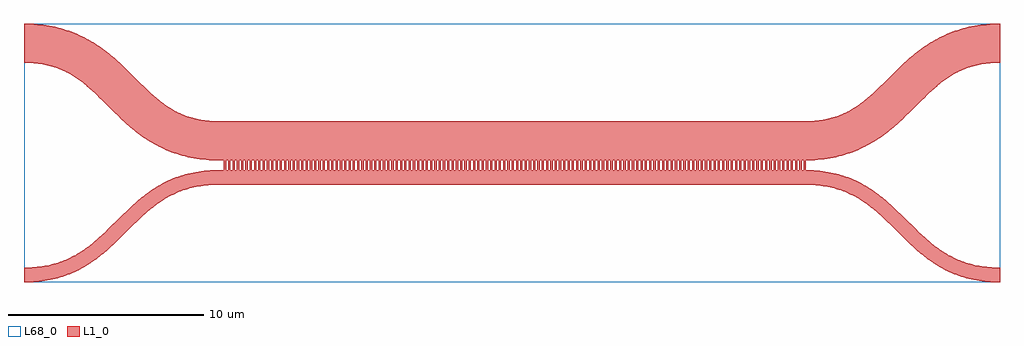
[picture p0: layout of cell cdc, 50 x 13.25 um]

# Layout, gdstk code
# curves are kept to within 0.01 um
import gdstk
lib = gdstk.Library(unit=1e-6, precision=1e-09)
def R(c, l, rs):  # rectangles x0, y0, x1, y1
    for r in rs: c.add(gdstk.rectangle(r[:2], r[2:], *l))
def P(c, l, *ps):  # polygons
    for p in ps: c.add(gdstk.Polygon(p, *l))
L1_0 = (1, 0)
L68_0 = (68, 0)

compass_530917d7 = lib.new_cell('compass_530917d7')
R(compass_530917d7, L1_0, [(-0.055,-0.25,0.055,0.25)])

rectangle_997e36b3 = lib.new_cell('rectangle_997e36b3')
rectangle_997e36b3.add(gdstk.Reference(compass_530917d7, (0,0)))

cdc = lib.new_cell('cdc')
R(cdc, L1_0, [(0,-2,30,-1.25), (0,-0.75,30,1.25)])
P(cdc, L1_0, [(-10,6.25),(-9.658,6.243),(-9.166,6.207),(-8.85,6.166),(-8.396,6.08),(-7.964,5.968),(-7.555,5.83),(-6.923,5.551),(-6.573,5.36),(-6.243,5.154),(-5.933,4.936),(-5.546,4.632),(-4.93,4.083),(-3.768,2.939),(-3.4,2.598),(-2.879,2.173),(-2.494,1.913),(-2.171,1.732),(-1.917,1.613),(-1.65,1.509),(-1.366,1.421),(-1.062,1.349),(-0.736,1.296),(-0.382,1.262),(0,1.25),(0,-0.75),(-0.342,-0.743),(-0.834,-0.707),(-1.15,-0.666),(-1.604,-0.58),(-2.036,-0.468),(-2.445,-0.33),(-3.077,-0.051),(-3.427,0.14),(-3.757,0.346),(-4.067,0.564),(-4.454,0.868),(-5.07,1.417),(-6.232,2.561),(-6.6,2.902),(-7.121,3.327),(-7.506,3.587),(-7.829,3.768),(-8.083,3.887),(-8.35,3.991),(-8.634,4.079),(-8.938,4.151),(-9.264,4.204),(-9.618,4.238),(-10,4.25)],
  [(40,-7),(39.684,-6.994),(39.232,-6.96),(38.805,-6.9),(38.401,-6.814),(38.018,-6.705),(37.657,-6.574),(37.206,-6.369),(36.889,-6.196),(36.398,-5.876),(35.858,-5.453),(35.28,-4.928),(33.893,-3.576),(33.333,-3.108),(32.82,-2.755),(32.262,-2.457),(31.961,-2.332),(31.531,-2.193),(31.185,-2.111),(30.816,-2.051),(30.422,-2.013),(30,-2),(30,-1.25),(30.316,-1.256),(30.768,-1.29),(31.195,-1.35),(31.599,-1.436),(31.982,-1.545),(32.343,-1.676),(32.794,-1.881),(33.111,-2.054),(33.602,-2.374),(34.142,-2.797),(34.72,-3.322),(36.107,-4.674),(36.667,-5.142),(37.18,-5.495),(37.738,-5.793),(38.039,-5.918),(38.469,-6.057),(38.815,-6.139),(39.184,-6.199),(39.578,-6.237),(40,-6.25)],
  [(-10,-7),(-9.684,-6.994),(-9.232,-6.96),(-8.805,-6.9),(-8.401,-6.814),(-8.018,-6.705),(-7.657,-6.574),(-7.206,-6.369),(-6.889,-6.196),(-6.398,-5.876),(-5.858,-5.453),(-5.28,-4.928),(-3.893,-3.576),(-3.333,-3.108),(-2.82,-2.755),(-2.262,-2.457),(-1.961,-2.332),(-1.531,-2.193),(-1.185,-2.111),(-0.816,-2.051),(-0.422,-2.013),(0,-2),(0,-1.25),(-0.316,-1.256),(-0.768,-1.29),(-1.195,-1.35),(-1.599,-1.436),(-1.982,-1.545),(-2.343,-1.676),(-2.794,-1.881),(-3.111,-2.054),(-3.602,-2.374),(-4.142,-2.797),(-4.72,-3.322),(-6.107,-4.674),(-6.667,-5.142),(-7.18,-5.495),(-7.738,-5.793),(-8.039,-5.918),(-8.469,-6.057),(-8.815,-6.139),(-9.184,-6.199),(-9.578,-6.237),(-10,-6.25)],
  [(40,6.25),(39.658,6.243),(39.166,6.207),(38.85,6.166),(38.396,6.08),(37.964,5.968),(37.555,5.83),(36.923,5.551),(36.573,5.36),(36.243,5.154),(35.933,4.936),(35.546,4.632),(34.93,4.083),(33.768,2.939),(33.4,2.598),(32.879,2.173),(32.494,1.913),(32.171,1.732),(31.917,1.613),(31.65,1.509),(31.366,1.421),(31.062,1.349),(30.736,1.296),(30.382,1.262),(30,1.25),(30,-0.75),(30.342,-0.743),(30.834,-0.707),(31.15,-0.666),(31.604,-0.58),(32.036,-0.468),(32.445,-0.33),(33.077,-0.051),(33.427,0.14),(33.757,0.346),(34.067,0.564),(34.454,0.868),(35.07,1.417),(36.232,2.561),(36.6,2.902),(37.121,3.327),(37.506,3.587),(37.829,3.768),(38.083,3.887),(38.35,3.991),(38.634,4.079),(38.938,4.151),(39.264,4.204),(39.618,4.238),(40,4.25)])
R(cdc, L68_0, [(-10,-7,40,6.25)])
cdc.add(gdstk.Reference(rectangle_997e36b3, (0.3,-1)))
cdc.add(gdstk.Reference(rectangle_997e36b3, (0.52,-1)))
cdc.add(gdstk.Reference(rectangle_997e36b3, (0.74,-1)))
cdc.add(gdstk.Reference(rectangle_997e36b3, (0.96,-1)))
cdc.add(gdstk.Reference(rectangle_997e36b3, (1.18,-1)))
cdc.add(gdstk.Reference(rectangle_997e36b3, (1.4,-1)))
cdc.add(gdstk.Reference(rectangle_997e36b3, (1.62,-1)))
cdc.add(gdstk.Reference(rectangle_997e36b3, (1.84,-1)))
cdc.add(gdstk.Reference(rectangle_997e36b3, (2.06,-1)))
cdc.add(gdstk.Reference(rectangle_997e36b3, (2.28,-1)))
cdc.add(gdstk.Reference(rectangle_997e36b3, (2.5,-1)))
cdc.add(gdstk.Reference(rectangle_997e36b3, (2.72,-1)))
cdc.add(gdstk.Reference(rectangle_997e36b3, (2.94,-1)))
cdc.add(gdstk.Reference(rectangle_997e36b3, (3.16,-1)))
cdc.add(gdstk.Reference(rectangle_997e36b3, (3.38,-1)))
cdc.add(gdstk.Reference(rectangle_997e36b3, (3.6,-1)))
cdc.add(gdstk.Reference(rectangle_997e36b3, (3.82,-1)))
cdc.add(gdstk.Reference(rectangle_997e36b3, (4.04,-1)))
cdc.add(gdstk.Reference(rectangle_997e36b3, (4.26,-1)))
cdc.add(gdstk.Reference(rectangle_997e36b3, (4.48,-1)))
cdc.add(gdstk.Reference(rectangle_997e36b3, (4.7,-1)))
cdc.add(gdstk.Reference(rectangle_997e36b3, (4.92,-1)))
cdc.add(gdstk.Reference(rectangle_997e36b3, (5.14,-1)))
cdc.add(gdstk.Reference(rectangle_997e36b3, (5.36,-1)))
cdc.add(gdstk.Reference(rectangle_997e36b3, (5.58,-1)))
cdc.add(gdstk.Reference(rectangle_997e36b3, (5.8,-1)))
cdc.add(gdstk.Reference(rectangle_997e36b3, (6.02,-1)))
cdc.add(gdstk.Reference(rectangle_997e36b3, (6.24,-1)))
cdc.add(gdstk.Reference(rectangle_997e36b3, (6.46,-1)))
cdc.add(gdstk.Reference(rectangle_997e36b3, (6.68,-1)))
cdc.add(gdstk.Reference(rectangle_997e36b3, (6.9,-1)))
cdc.add(gdstk.Reference(rectangle_997e36b3, (7.12,-1)))
cdc.add(gdstk.Reference(rectangle_997e36b3, (7.34,-1)))
cdc.add(gdstk.Reference(rectangle_997e36b3, (7.56,-1)))
cdc.add(gdstk.Reference(rectangle_997e36b3, (7.78,-1)))
cdc.add(gdstk.Reference(rectangle_997e36b3, (8,-1)))
cdc.add(gdstk.Reference(rectangle_997e36b3, (8.22,-1)))
cdc.add(gdstk.Reference(rectangle_997e36b3, (8.44,-1)))
cdc.add(gdstk.Reference(rectangle_997e36b3, (8.66,-1)))
cdc.add(gdstk.Reference(rectangle_997e36b3, (8.88,-1)))
cdc.add(gdstk.Reference(rectangle_997e36b3, (9.1,-1)))
cdc.add(gdstk.Reference(rectangle_997e36b3, (9.32,-1)))
cdc.add(gdstk.Reference(rectangle_997e36b3, (9.54,-1)))
cdc.add(gdstk.Reference(rectangle_997e36b3, (9.76,-1)))
cdc.add(gdstk.Reference(rectangle_997e36b3, (9.98,-1)))
cdc.add(gdstk.Reference(rectangle_997e36b3, (10.2,-1)))
cdc.add(gdstk.Reference(rectangle_997e36b3, (10.42,-1)))
cdc.add(gdstk.Reference(rectangle_997e36b3, (10.64,-1)))
cdc.add(gdstk.Reference(rectangle_997e36b3, (10.86,-1)))
cdc.add(gdstk.Reference(rectangle_997e36b3, (11.08,-1)))
cdc.add(gdstk.Reference(rectangle_997e36b3, (11.3,-1)))
cdc.add(gdstk.Reference(rectangle_997e36b3, (11.52,-1)))
cdc.add(gdstk.Reference(rectangle_997e36b3, (11.74,-1)))
cdc.add(gdstk.Reference(rectangle_997e36b3, (11.96,-1)))
cdc.add(gdstk.Reference(rectangle_997e36b3, (12.18,-1)))
cdc.add(gdstk.Reference(rectangle_997e36b3, (12.4,-1)))
cdc.add(gdstk.Reference(rectangle_997e36b3, (12.62,-1)))
cdc.add(gdstk.Reference(rectangle_997e36b3, (12.84,-1)))
cdc.add(gdstk.Reference(rectangle_997e36b3, (13.06,-1)))
cdc.add(gdstk.Reference(rectangle_997e36b3, (13.28,-1)))
cdc.add(gdstk.Reference(rectangle_997e36b3, (13.5,-1)))
cdc.add(gdstk.Reference(rectangle_997e36b3, (13.72,-1)))
cdc.add(gdstk.Reference(rectangle_997e36b3, (13.94,-1)))
cdc.add(gdstk.Reference(rectangle_997e36b3, (14.16,-1)))
cdc.add(gdstk.Reference(rectangle_997e36b3, (14.38,-1)))
cdc.add(gdstk.Reference(rectangle_997e36b3, (14.6,-1)))
cdc.add(gdstk.Reference(rectangle_997e36b3, (14.82,-1)))
cdc.add(gdstk.Reference(rectangle_997e36b3, (15.04,-1)))
cdc.add(gdstk.Reference(rectangle_997e36b3, (15.26,-1)))
cdc.add(gdstk.Reference(rectangle_997e36b3, (15.48,-1)))
cdc.add(gdstk.Reference(rectangle_997e36b3, (15.7,-1)))
cdc.add(gdstk.Reference(rectangle_997e36b3, (15.92,-1)))
cdc.add(gdstk.Reference(rectangle_997e36b3, (16.14,-1)))
cdc.add(gdstk.Reference(rectangle_997e36b3, (16.36,-1)))
cdc.add(gdstk.Reference(rectangle_997e36b3, (16.58,-1)))
cdc.add(gdstk.Reference(rectangle_997e36b3, (16.8,-1)))
cdc.add(gdstk.Reference(rectangle_997e36b3, (17.02,-1)))
cdc.add(gdstk.Reference(rectangle_997e36b3, (17.24,-1)))
cdc.add(gdstk.Reference(rectangle_997e36b3, (17.46,-1)))
cdc.add(gdstk.Reference(rectangle_997e36b3, (17.68,-1)))
cdc.add(gdstk.Reference(rectangle_997e36b3, (17.9,-1)))
cdc.add(gdstk.Reference(rectangle_997e36b3, (18.12,-1)))
cdc.add(gdstk.Reference(rectangle_997e36b3, (18.34,-1)))
cdc.add(gdstk.Reference(rectangle_997e36b3, (18.56,-1)))
cdc.add(gdstk.Reference(rectangle_997e36b3, (18.78,-1)))
cdc.add(gdstk.Reference(rectangle_997e36b3, (19,-1)))
cdc.add(gdstk.Reference(rectangle_997e36b3, (19.22,-1)))
cdc.add(gdstk.Reference(rectangle_997e36b3, (19.44,-1)))
cdc.add(gdstk.Reference(rectangle_997e36b3, (19.66,-1)))
cdc.add(gdstk.Reference(rectangle_997e36b3, (19.88,-1)))
cdc.add(gdstk.Reference(rectangle_997e36b3, (20.1,-1)))
cdc.add(gdstk.Reference(rectangle_997e36b3, (20.32,-1)))
cdc.add(gdstk.Reference(rectangle_997e36b3, (20.54,-1)))
cdc.add(gdstk.Reference(rectangle_997e36b3, (20.76,-1)))
cdc.add(gdstk.Reference(rectangle_997e36b3, (20.98,-1)))
cdc.add(gdstk.Reference(rectangle_997e36b3, (21.2,-1)))
cdc.add(gdstk.Reference(rectangle_997e36b3, (21.42,-1)))
cdc.add(gdstk.Reference(rectangle_997e36b3, (21.64,-1)))
cdc.add(gdstk.Reference(rectangle_997e36b3, (21.86,-1)))
cdc.add(gdstk.Reference(rectangle_997e36b3, (22.08,-1)))
cdc.add(gdstk.Reference(rectangle_997e36b3, (22.3,-1)))
cdc.add(gdstk.Reference(rectangle_997e36b3, (22.52,-1)))
cdc.add(gdstk.Reference(rectangle_997e36b3, (22.74,-1)))
cdc.add(gdstk.Reference(rectangle_997e36b3, (22.96,-1)))
cdc.add(gdstk.Reference(rectangle_997e36b3, (23.18,-1)))
cdc.add(gdstk.Reference(rectangle_997e36b3, (23.4,-1)))
cdc.add(gdstk.Reference(rectangle_997e36b3, (23.62,-1)))
cdc.add(gdstk.Reference(rectangle_997e36b3, (23.84,-1)))
cdc.add(gdstk.Reference(rectangle_997e36b3, (24.06,-1)))
cdc.add(gdstk.Reference(rectangle_997e36b3, (24.28,-1)))
cdc.add(gdstk.Reference(rectangle_997e36b3, (24.5,-1)))
cdc.add(gdstk.Reference(rectangle_997e36b3, (24.72,-1)))
cdc.add(gdstk.Reference(rectangle_997e36b3, (24.94,-1)))
cdc.add(gdstk.Reference(rectangle_997e36b3, (25.16,-1)))
cdc.add(gdstk.Reference(rectangle_997e36b3, (25.38,-1)))
cdc.add(gdstk.Reference(rectangle_997e36b3, (25.6,-1)))
cdc.add(gdstk.Reference(rectangle_997e36b3, (25.82,-1)))
cdc.add(gdstk.Reference(rectangle_997e36b3, (26.04,-1)))
cdc.add(gdstk.Reference(rectangle_997e36b3, (26.26,-1)))
cdc.add(gdstk.Reference(rectangle_997e36b3, (26.48,-1)))
cdc.add(gdstk.Reference(rectangle_997e36b3, (26.7,-1)))
cdc.add(gdstk.Reference(rectangle_997e36b3, (26.92,-1)))
cdc.add(gdstk.Reference(rectangle_997e36b3, (27.14,-1)))
cdc.add(gdstk.Reference(rectangle_997e36b3, (27.36,-1)))
cdc.add(gdstk.Reference(rectangle_997e36b3, (27.58,-1)))
cdc.add(gdstk.Reference(rectangle_997e36b3, (27.8,-1)))
cdc.add(gdstk.Reference(rectangle_997e36b3, (28.02,-1)))
cdc.add(gdstk.Reference(rectangle_997e36b3, (28.24,-1)))
cdc.add(gdstk.Reference(rectangle_997e36b3, (28.46,-1)))
cdc.add(gdstk.Reference(rectangle_997e36b3, (28.68,-1)))
cdc.add(gdstk.Reference(rectangle_997e36b3, (28.9,-1)))
cdc.add(gdstk.Reference(rectangle_997e36b3, (29.12,-1)))
cdc.add(gdstk.Reference(rectangle_997e36b3, (29.34,-1)))
cdc.add(gdstk.Reference(rectangle_997e36b3, (29.56,-1)))
cdc.add(gdstk.Reference(rectangle_997e36b3, (29.78,-1)))
cdc.add(gdstk.Reference(rectangle_997e36b3, (30,-1)))

lib.write_gds('cdc.gds')
